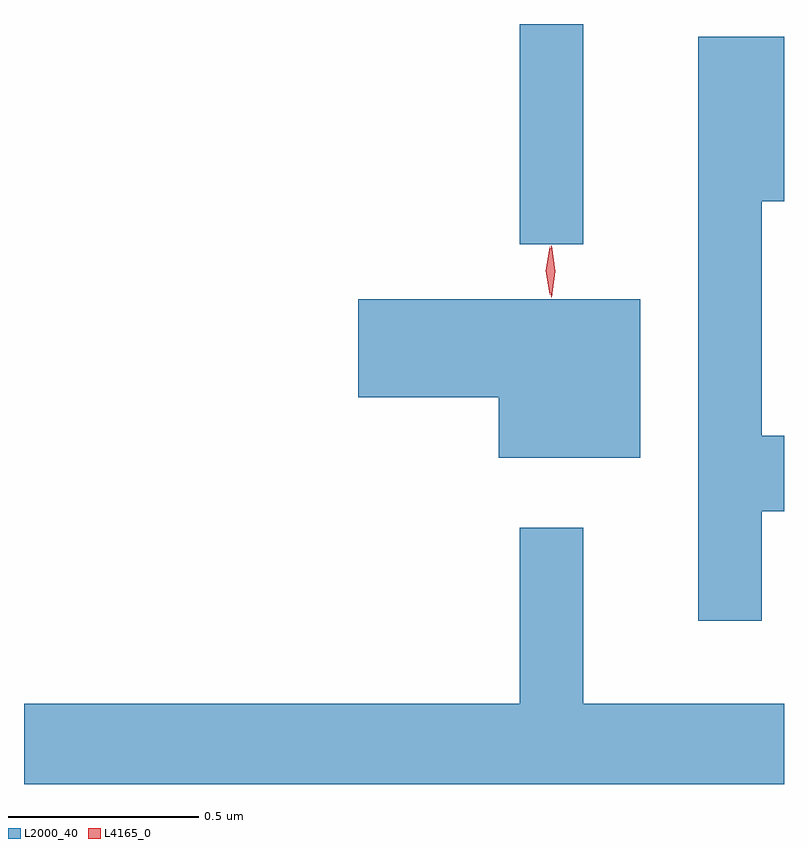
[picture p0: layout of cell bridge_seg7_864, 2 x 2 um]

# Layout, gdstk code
import gdstk
lib = gdstk.Library(unit=1e-6, precision=1e-09)
def R(c, l, rs):  # rectangles x0, y0, x1, y1
    for r in rs: c.add(gdstk.rectangle(r[:2], r[2:], *l))
def P(c, l, *ps):  # polygons
    for p in ps: c.add(gdstk.Polygon(p, *l))
L2000_40 = (2000, 40)
L4165_0 = (4165, 0)

bridge_seg7_864 = lib.new_cell('bridge_seg7_864')
R(bridge_seg7_864, L2000_40, [(286.021,1775.733,286.189,1776.313)])
P(bridge_seg7_864, L2000_40, [(286.659,1775.031),(286.717,1775.031),(286.717,1775.229),(286.659,1775.229),(286.659,1775.846),(286.717,1775.846),(286.717,1776.279),(286.491,1776.279),(286.491,1774.743),(286.659,1774.743)],
  [(286.339,1775.589),(285.596,1775.589),(285.596,1775.331),(285.966,1775.331),(285.966,1775.171),(286.339,1775.171)],
  [(286.717,1774.524),(286.189,1774.524),(286.189,1774.988),(286.021,1774.988),(286.021,1774.524),(284.717,1774.524),(284.717,1774.313),(286.717,1774.313)])
P(bridge_seg7_864, L4165_0, [(286.105,1775.594),(286.096,1775.662),(286.104,1775.73),(286.105,1775.73),(286.106,1775.73),(286.115,1775.662),(286.106,1775.594),(286.106,1775.594)],
  [(286.1,1775.6),(286.1,1775.6),(286.09,1775.664),(286.1,1775.727),(286.1,1775.727),(286.101,1775.727),(286.11,1775.664),(286.101,1775.6)])

lib.write_gds('bridge_seg7_864.gds')
